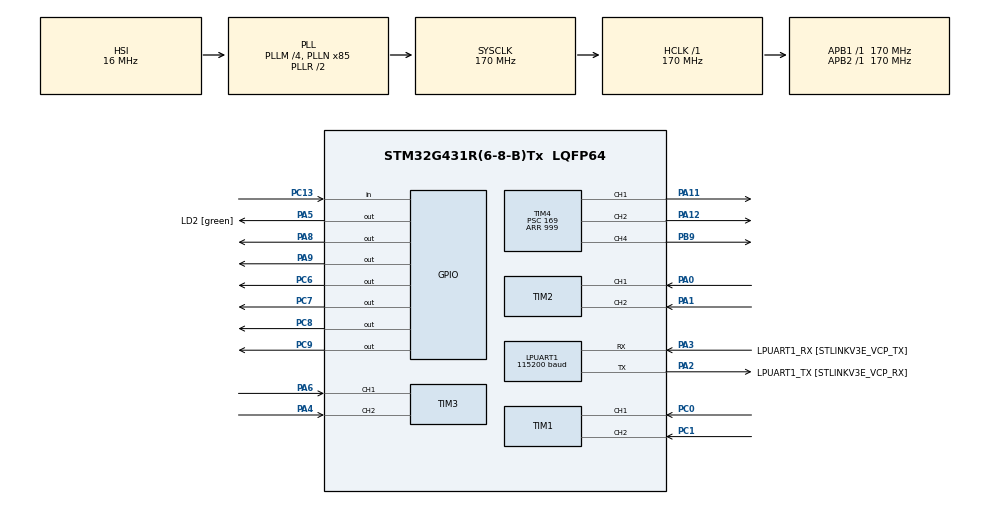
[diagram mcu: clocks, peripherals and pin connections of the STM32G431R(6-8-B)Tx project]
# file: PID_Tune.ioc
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LPUART1.BaudRate=115200
LPUART1.WordLength=UART_WORDLENGTH_8B
Mcu.Family=STM32G4
Mcu.Name=STM32G431R(6-8-B)Tx
Mcu.Package=LQFP64
NVIC.PriorityGroup=NVIC_PRIORITYGROUP_4
NVIC.TIM8_UP_IRQn=true\:0\:0\:false\:false\:true\:true\:true\:true
PA0.Signal=S_TIM2_CH1
PA1.Signal=S_TIM2_CH2
PA11.Signal=S_TIM4_CH1
PA12.Signal=S_TIM4_CH2
PA13.GPIO_Label=T_SWDIO
PA13.Mode=Serial_Wire
PA13.Signal=SYS_JTMS-SWDIO
PA14.GPIO_Label=T_SWCLK
PA14.Mode=Serial_Wire
PA14.Signal=SYS_JTCK-SWCLK
PA2.GPIO_Label=LPUART1_TX [STLINKV3E_VCP_RX]
PA2.Mode=Asynchronous
PA2.Signal=LPUART1_TX
PA3.GPIO_Label=LPUART1_RX [STLINKV3E_VCP_TX]
PA3.Mode=Asynchronous
PA3.Signal=LPUART1_RX
PA4.Signal=S_TIM3_CH2
PA5.GPIO_Label=LD2 [green]
PA5.Signal=GPIO_Output
PA6.Signal=S_TIM3_CH1
PA8.Signal=GPIO_Output
PA9.Signal=GPIO_Output
PB3.GPIO_Label=T_SWO
PB3.Signal=SYS_JTDO-SWO
PB9.Signal=S_TIM4_CH4
PC0.Signal=S_TIM1_CH1
PC1.Signal=S_TIM1_CH2
PC13.Signal=GPIO_Input
PC14-OSC32_IN.Mode=LSE-External-Oscillator
PC14-OSC32_IN.Signal=RCC_OSC32_IN
PC15-OSC32_OUT.Mode=LSE-External-Oscillator
PC15-OSC32_OUT.Signal=RCC_OSC32_OUT
PC6.Signal=GPIO_Output
PC7.Signal=GPIO_Output
PC8.Signal=GPIO_Output
PC9.Signal=GPIO_Output
PF0-OSC_IN.Mode=HSE-External-Oscillator
PF0-OSC_IN.Signal=RCC_OSC_IN
PF1-OSC_OUT.Mode=HSE-External-Oscillator
PF1-OSC_OUT.Signal=RCC_OSC_OUT
ProjectManager.HeapSize=0x200
ProjectManager.StackSize=0x400
ProjectManager.TargetToolchain=STM32CubeIDE
RCC.ADC12Freq_Value=170000000
RCC.AHBFreq_Value=170000000
RCC.APB1Freq_Value=170000000
RCC.APB1TimFreq_Value=170000000
RCC.APB2Freq_Value=170000000
RCC.APB2TimFreq_Value=170000000
RCC.CortexFreq_Value=170000000
RCC.EXTERNAL_CLOCK_VALUE=12288000
RCC.HCLKFreq_Value=170000000
RCC.HSE_VALUE=24000000
RCC.HSI48_VALUE=48000000
RCC.HSI_VALUE=16000000
RCC.PLLM=RCC_PLLM_DIV4
RCC.PLLN=85
RCC.RTCClockSelection=RCC_RTCCLKSOURCE_LSE
RCC.SYSCLKFreq_VALUE=170000000
RCC.SYSCLKSource=RCC_SYSCLKSOURCE_PLLCLK
RCC.USBFreq_Value=170000000
RCC.VCOOutputFreq_Value=340000000
SH.S_TIM1_CH1.0=TIM1_CH1,Encoder_Interface
SH.S_TIM1_CH2.0=TIM1_CH2,Encoder_Interface
SH.S_TIM2_CH1.0=TIM2_CH1,Encoder_Interface
SH.S_TIM2_CH2.0=TIM2_CH2,Encoder_Interface
SH.S_TIM3_CH1.0=TIM3_CH1,Encoder_Interface
SH.S_TIM3_CH2.0=TIM3_CH2,Encoder_Interface
SH.S_TIM4_CH1.0=TIM4_CH1,PWM Generation1 CH1
SH.S_TIM4_CH2.0=TIM4_CH2,PWM Generation2 CH2
SH.S_TIM4_CH4.0=TIM4_CH4,PWM Generation4 CH4
TIM1.EncoderMode=TIM_ENCODERMODE_TI12
TIM2.EncoderMode=TIM_ENCODERMODE_TI12
TIM3.EncoderMode=TIM_ENCODERMODE_TI12
TIM4.Channel-PWM\ Generation1\ CH1=TIM_CHANNEL_1
TIM4.Channel-PWM\ Generation2\ CH2=TIM_CHANNEL_2
TIM4.Channel-PWM\ Generation4\ CH4=TIM_CHANNEL_4
TIM4.PeriodNoDither=999
TIM4.Prescaler=169
TIM8.PeriodNoDither=999
TIM8.Prescaler=169
VP_SYS_VS_DBSignals.Mode=DisableDeadBatterySignals
VP_TIM8_VS_ClockSourceINT.Mode=Internal
board=NUCLEO-G431RB

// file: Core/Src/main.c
/* USER CODE BEGIN Header */
/**
  ******************************************************************************
  * @file           : main.c
  * @brief          : Main program body
  ******************************************************************************
  * @attention
  *
  * Copyright (c) 2024 STMicroelectronics.
  * All rights reserved.
  *
  * This software is licensed under terms that can be found in the LICENSE file
  * in the root directory of this software component.
  * If no LICENSE file comes with this software, it is provided AS-IS.
  *
  ******************************************************************************
  */
/* USER CODE END Header */
#include "main.h"

UART_HandleTypeDef hlpuart1;

TIM_HandleTypeDef htim1;
TIM_HandleTypeDef htim2;
TIM_HandleTypeDef htim3;
TIM_HandleTypeDef htim4;
TIM_HandleTypeDef htim8;

void SystemClock_Config(void);
static void MX_GPIO_Init(void);
static void MX_LPUART1_UART_Init(void);
static void MX_TIM1_Init(void);
static void MX_TIM4_Init(void);
static void MX_TIM8_Init(void);
static void MX_TIM2_Init(void);
static void MX_TIM3_Init(void);

int main(void)
{

  /* MCU Configuration--------------------------------------------------------*/

  /* Reset of all peripherals, Initializes the Flash interface and the Systick. */
  HAL_Init();

  /* Configure the system clock */
  SystemClock_Config();

  /* Initialize all configured peripherals */
  MX_GPIO_Init();
  MX_LPUART1_UART_Init();
  MX_TIM1_Init();
  MX_TIM4_Init();
  MX_TIM8_Init();
  MX_TIM2_Init();
  MX_TIM3_Init();
  /* USER CODE BEGIN 2 */
  // Update Interrupt
  HAL_TIM_Base_Start_IT(&htim8);
  // Encoder
  HAL_TIM_Encoder_Start(&htim1, TIM_CHANNEL_1);	// Front
  HAL_TIM_Encoder_Start(&htim1, TIM_CHANNEL_2);
  HAL_TIM_Encoder_Start(&htim2, TIM_CHANNEL_1);	// Left
  HAL_TIM_Encoder_Start(&htim2, TIM_CHANNEL_2);
  HAL_TIM_Encoder_Start(&htim3, TIM_CHANNEL_1);	// Right
  HAL_TIM_Encoder_Start(&htim3, TIM_CHANNEL_2);
  // PWM
  HAL_TIM_PWM_Start(&htim4, TIM_CHANNEL_1);	// Front
  HAL_TIM_PWM_Start(&htim4, TIM_CHANNEL_2);	// Left
  HAL_TIM_PWM_Start(&htim4, TIM_CHANNEL_4);	// Right

  /* USER CODE END 2 */

  /* Infinite loop */
  while (1)
  {

  }
}

void SystemClock_Config(void)
{
  RCC_OscInitTypeDef RCC_OscInitStruct = {0};
  RCC_ClkInitTypeDef RCC_ClkInitStruct = {0};

  /** Configure the main internal regulator output voltage
  */
  HAL_PWREx_ControlVoltageScaling(PWR_REGULATOR_VOLTAGE_SCALE1_BOOST);

  /** Initializes the RCC Oscillators according to the specified parameters
  * in the RCC_OscInitTypeDef structure.
  */
  RCC_OscInitStruct.OscillatorType = RCC_OSCILLATORTYPE_HSI;
  RCC_OscInitStruct.HSIState = RCC_HSI_ON;
  RCC_OscInitStruct.HSICalibrationValue = RCC_HSICALIBRATION_DEFAULT;
  RCC_OscInitStruct.PLL.PLLState = RCC_PLL_ON;
  RCC_OscInitStruct.PLL.PLLSource = RCC_PLLSOURCE_HSI;
  RCC_OscInitStruct.PLL.PLLM = RCC_PLLM_DIV4;
  RCC_OscInitStruct.PLL.PLLN = 85;
  RCC_OscInitStruct.PLL.PLLP = RCC_PLLP_DIV2;
  RCC_OscInitStruct.PLL.PLLQ = RCC_PLLQ_DIV2;
  RCC_OscInitStruct.PLL.PLLR = RCC_PLLR_DIV2;
  if (HAL_RCC_OscConfig(&RCC_OscInitStruct) != HAL_OK)
  {
    Error_Handler();
  }

  /** Initializes the CPU, AHB and APB buses clocks
  */
  RCC_ClkInitStruct.ClockType = RCC_CLOCKTYPE_HCLK|RCC_CLOCKTYPE_SYSCLK
                              |RCC_CLOCKTYPE_PCLK1|RCC_CLOCKTYPE_PCLK2;
  RCC_ClkInitStruct.SYSCLKSource = RCC_SYSCLKSOURCE_PLLCLK;
  RCC_ClkInitStruct.AHBCLKDivider = RCC_SYSCLK_DIV1;
  RCC_ClkInitStruct.APB1CLKDivider = RCC_HCLK_DIV1;
  RCC_ClkInitStruct.APB2CLKDivider = RCC_HCLK_DIV1;

  if (HAL_RCC_ClockConfig(&RCC_ClkInitStruct, FLASH_LATENCY_4) != HAL_OK)
  {
    Error_Handler();
  }
}

static void MX_LPUART1_UART_Init(void)
{

  hlpuart1.Instance = LPUART1;
  hlpuart1.Init.BaudRate = 115200;
  hlpuart1.Init.WordLength = UART_WORDLENGTH_8B;
  hlpuart1.Init.StopBits = UART_STOPBITS_1;
  hlpuart1.Init.Parity = UART_PARITY_NONE;
  hlpuart1.Init.Mode = UART_MODE_TX_RX;
  hlpuart1.Init.HwFlowCtl = UART_HWCONTROL_NONE;
  hlpuart1.Init.OneBitSampling = UART_ONE_BIT_SAMPLE_DISABLE;
  hlpuart1.Init.ClockPrescaler = UART_PRESCALER_DIV1;
  hlpuart1.AdvancedInit.AdvFeatureInit = UART_ADVFEATURE_NO_INIT;
  if (HAL_UART_Init(&hlpuart1) != HAL_OK)
  {
    Error_Handler();
  }
  if (HAL_UARTEx_SetTxFifoThreshold(&hlpuart1, UART_TXFIFO_THRESHOLD_1_8) != HAL_OK)
  {
    Error_Handler();
  }
  if (HAL_UARTEx_SetRxFifoThreshold(&hlpuart1, UART_RXFIFO_THRESHOLD_1_8) != HAL_OK)
  {
    Error_Handler();
  }
  if (HAL_UARTEx_DisableFifoMode(&hlpuart1) != HAL_OK)
  {
    Error_Handler();
  }

}

static void MX_TIM1_Init(void)
{

  TIM_Encoder_InitTypeDef sConfig = {0};
  TIM_MasterConfigTypeDef sMasterConfig = {0};

  htim1.Instance = TIM1;
  htim1.Init.Prescaler = 0;
  htim1.Init.CounterMode = TIM_COUNTERMODE_UP;
  htim1.Init.Period = 65535;
  htim1.Init.ClockDivision = TIM_CLOCKDIVISION_DIV1;
  htim1.Init.RepetitionCounter = 0;
  htim1.Init.AutoReloadPreload = TIM_AUTORELOAD_PRELOAD_DISABLE;
  sConfig.EncoderMode = TIM_ENCODERMODE_TI12;
  sConfig.IC1Polarity = TIM_ICPOLARITY_RISING;
  sConfig.IC1Selection = TIM_ICSELECTION_DIRECTTI;
  sConfig.IC1Prescaler = TIM_ICPSC_DIV1;
  sConfig.IC1Filter = 0;
  sConfig.IC2Polarity = TIM_ICPOLARITY_RISING;
  sConfig.IC2Selection = TIM_ICSELECTION_DIRECTTI;
  sConfig.IC2Prescaler = TIM_ICPSC_DIV1;
  sConfig.IC2Filter = 0;
  if (HAL_TIM_Encoder_Init(&htim1, &sConfig) != HAL_OK)
  {
    Error_Handler();
  }
  sMasterConfig.MasterOutputTrigger = TIM_TRGO_RESET;
  sMasterConfig.MasterOutputTrigger2 = TIM_TRGO2_RESET;
  sMasterConfig.MasterSlaveMode = TIM_MASTERSLAVEMODE_DISABLE;
  if (HAL_TIMEx_MasterConfigSynchronization(&htim1, &sMasterConfig) != HAL_OK)
  {
    Error_Handler();
  }

}

static void MX_TIM2_Init(void)
{

  TIM_Encoder_InitTypeDef sConfig = {0};
  TIM_MasterConfigTypeDef sMasterConfig = {0};

  htim2.Instance = TIM2;
  htim2.Init.Prescaler = 0;
  htim2.Init.CounterMode = TIM_COUNTERMODE_UP;
  htim2.Init.Period = 4.294967295E9;
  htim2.Init.ClockDivision = TIM_CLOCKDIVISION_DIV1;
  htim2.Init.AutoReloadPreload = TIM_AUTORELOAD_PRELOAD_DISABLE;
  sConfig.EncoderMode = TIM_ENCODERMODE_TI12;
  sConfig.IC1Polarity = TIM_ICPOLARITY_RISING;
  sConfig.IC1Selection = TIM_ICSELECTION_DIRECTTI;
  sConfig.IC1Prescaler = TIM_ICPSC_DIV1;
  sConfig.IC1Filter = 0;
  sConfig.IC2Polarity = TIM_ICPOLARITY_RISING;
  sConfig.IC2Selection = TIM_ICSELECTION_DIRECTTI;
  sConfig.IC2Prescaler = TIM_ICPSC_DIV1;
  sConfig.IC2Filter = 0;
  if (HAL_TIM_Encoder_Init(&htim2, &sConfig) != HAL_OK)
  {
    Error_Handler();
  }
  sMasterConfig.MasterOutputTrigger = TIM_TRGO_RESET;
  sMasterConfig.MasterSlaveMode = TIM_MASTERSLAVEMODE_DISABLE;
  if (HAL_TIMEx_MasterConfigSynchronization(&htim2, &sMasterConfig) != HAL_OK)
  {
    Error_Handler();
  }

}

static void MX_TIM3_Init(void)
{

  TIM_Encoder_InitTypeDef sConfig = {0};
  TIM_MasterConfigTypeDef sMasterConfig = {0};

  htim3.Instance = TIM3;
  htim3.Init.Prescaler = 0;
  htim3.Init.CounterMode = TIM_COUNTERMODE_UP;
  htim3.Init.Period = 65535;
  htim3.Init.ClockDivision = TIM_CLOCKDIVISION_DIV1;
  htim3.Init.AutoReloadPreload = TIM_AUTORELOAD_PRELOAD_DISABLE;
  sConfig.EncoderMode = TIM_ENCODERMODE_TI12;
  sConfig.IC1Polarity = TIM_ICPOLARITY_RISING;
  sConfig.IC1Selection = TIM_ICSELECTION_DIRECTTI;
  sConfig.IC1Prescaler = TIM_ICPSC_DIV1;
  sConfig.IC1Filter = 0;
  sConfig.IC2Polarity = TIM_ICPOLARITY_RISING;
  sConfig.IC2Selection = TIM_ICSELECTION_DIRECTTI;
  sConfig.IC2Prescaler = TIM_ICPSC_DIV1;
  sConfig.IC2Filter = 0;
  if (HAL_TIM_Encoder_Init(&htim3, &sConfig) != HAL_OK)
  {
    Error_Handler();
  }
  sMasterConfig.MasterOutputTrigger = TIM_TRGO_RESET;
  sMasterConfig.MasterSlaveMode = TIM_MASTERSLAVEMODE_DISABLE;
  if (HAL_TIMEx_MasterConfigSynchronization(&htim3, &sMasterConfig) != HAL_OK)
  {
    Error_Handler();
  }

}

static void MX_TIM4_Init(void)
{

  TIM_MasterConfigTypeDef sMasterConfig = {0};
  TIM_OC_InitTypeDef sConfigOC = {0};

  htim4.Instance = TIM4;
  htim4.Init.Prescaler = 169;
  htim4.Init.CounterMode = TIM_COUNTERMODE_UP;
  htim4.Init.Period = 999;
  htim4.Init.ClockDivision = TIM_CLOCKDIVISION_DIV1;
  htim4.Init.AutoReloadPreload = TIM_AUTORELOAD_PRELOAD_DISABLE;
  if (HAL_TIM_PWM_Init(&htim4) != HAL_OK)
  {
    Error_Handler();
  }
  sMasterConfig.MasterOutputTrigger = TIM_TRGO_RESET;
  sMasterConfig.MasterSlaveMode = TIM_MASTERSLAVEMODE_DISABLE;
  if (HAL_TIMEx_MasterConfigSynchronization(&htim4, &sMasterConfig) != HAL_OK)
  {
    Error_Handler();
  }
  sConfigOC.OCMode = TIM_OCMODE_PWM1;
  sConfigOC.Pulse = 0;
  sConfigOC.OCPolarity = TIM_OCPOLARITY_HIGH;
  sConfigOC.OCFastMode = TIM_OCFAST_DISABLE;
  if (HAL_TIM_PWM_ConfigChannel(&htim4, &sConfigOC, TIM_CHANNEL_1) != HAL_OK)
  {
    Error_Handler();
  }
  if (HAL_TIM_PWM_ConfigChannel(&htim4, &sConfigOC, TIM_CHANNEL_2) != HAL_OK)
  {
    Error_Handler();
  }
  if (HAL_TIM_PWM_ConfigChannel(&htim4, &sConfigOC, TIM_CHANNEL_4) != HAL_OK)
  {
    Error_Handler();
  }
  HAL_TIM_MspPostInit(&htim4);

}

static void MX_TIM8_Init(void)
{

  TIM_ClockConfigTypeDef sClockSourceConfig = {0};
  TIM_MasterConfigTypeDef sMasterConfig = {0};

  htim8.Instance = TIM8;
  htim8.Init.Prescaler = 169;
  htim8.Init.CounterMode = TIM_COUNTERMODE_UP;
  htim8.Init.Period = 999;
  htim8.Init.ClockDivision = TIM_CLOCKDIVISION_DIV1;
  htim8.Init.RepetitionCounter = 0;
  htim8.Init.AutoReloadPreload = TIM_AUTORELOAD_PRELOAD_DISABLE;
  if (HAL_TIM_Base_Init(&htim8) != HAL_OK)
  {
    Error_Handler();
  }
  sClockSourceConfig.ClockSource = TIM_CLOCKSOURCE_INTERNAL;
  if (HAL_TIM_ConfigClockSource(&htim8, &sClockSourceConfig) != HAL_OK)
  {
    Error_Handler();
  }
  sMasterConfig.MasterOutputTrigger = TIM_TRGO_RESET;
  sMasterConfig.MasterOutputTrigger2 = TIM_TRGO2_RESET;
  sMasterConfig.MasterSlaveMode = TIM_MASTERSLAVEMODE_DISABLE;
  if (HAL_TIMEx_MasterConfigSynchronization(&htim8, &sMasterConfig) != HAL_OK)
  {
    Error_Handler();
  }

}

static void MX_GPIO_Init(void)
{
  GPIO_InitTypeDef GPIO_InitStruct = {0};

  /* GPIO Ports Clock Enable */
  __HAL_RCC_GPIOC_CLK_ENABLE();
  __HAL_RCC_GPIOF_CLK_ENABLE();
  __HAL_RCC_GPIOA_CLK_ENABLE();
  __HAL_RCC_GPIOB_CLK_ENABLE();

  /*Configure GPIO pin Output Level */
  HAL_GPIO_WritePin(GPIOA, LD2_Pin|GPIO_PIN_8|GPIO_PIN_9, GPIO_PIN_RESET);

  /*Configure GPIO pin Output Level */
  HAL_GPIO_WritePin(GPIOC, GPIO_PIN_6|GPIO_PIN_7|GPIO_PIN_8|GPIO_PIN_9, GPIO_PIN_RESET);

  /*Configure GPIO pin : PC13 */
  GPIO_InitStruct.Pin = GPIO_PIN_13;
  GPIO_InitStruct.Mode = GPIO_MODE_INPUT;
  GPIO_InitStruct.Pull = GPIO_NOPULL;
  HAL_GPIO_Init(GPIOC, &GPIO_InitStruct);

  /*Configure GPIO pins : LD2_Pin PA8 PA9 */
  GPIO_InitStruct.Pin = LD2_Pin|GPIO_PIN_8|GPIO_PIN_9;
  GPIO_InitStruct.Mode = GPIO_MODE_OUTPUT_PP;
  GPIO_InitStruct.Pull = GPIO_NOPULL;
  GPIO_InitStruct.Speed = GPIO_SPEED_FREQ_LOW;
  HAL_GPIO_Init(GPIOA, &GPIO_InitStruct);

  /*Configure GPIO pins : PC6 PC7 PC8 PC9 */
  GPIO_InitStruct.Pin = GPIO_PIN_6|GPIO_PIN_7|GPIO_PIN_8|GPIO_PIN_9;
  GPIO_InitStruct.Mode = GPIO_MODE_OUTPUT_PP;
  GPIO_InitStruct.Pull = GPIO_NOPULL;
  GPIO_InitStruct.Speed = GPIO_SPEED_FREQ_LOW;
  HAL_GPIO_Init(GPIOC, &GPIO_InitStruct);

}

/* USER CODE BEGIN 4 */
int TIM_IT_cnt = 0;
int reset = 0;

// Required motor_vel
double MF, ML, MR;
// encoder
short int	enc_MF, enc_MR, enc_ML;
// Real motor_vel
double rMF, rML, rMR;
// Real robot_vel
double rVx, rVy, rW;

void Encoder(){
	//front wheel motor
	enc_MF = __HAL_TIM_GetCounter(&htim1);
	rMF = -(double) enc_MF / (4 * 256 * 24) / 0.001; // revolution/s
	__HAL_TIM_SetCounter(&htim1, 0);
}

int pulse_MF;
double inte_MF;
double kp = 2.2;
double ki = 20.5;

void PID_PWM(){
	//PID_MF
	double	err_MF = MF - rMF;
	inte_MF += err_MF * 0.001;
	double	bound_MF = 0.01;
	if (ki * inte_MF > 1) inte_MF = bound_MF;
	else if (ki * inte_MF < -1) inte_MF = -bound_MF;
	float u_MF = kp * err_MF + ki * inte_MF;			// pulse
	if (u_MF > 1) u_MF = 1;
	else if (u_MF < -1) u_MF = -1;

	//PWM_MF
	if (u_MF > 0) {
		pulse_MF = (int) (u_MF * (999 + 1));
		HAL_GPIO_WritePin(GPIOC, GPIO_PIN_6, GPIO_PIN_SET); // INA
		HAL_GPIO_WritePin(GPIOC, GPIO_PIN_7, GPIO_PIN_RESET); // INB
	} else if(u_MF < 0){
		pulse_MF = (int) (-u_MF * (999 + 1));
		HAL_GPIO_WritePin(GPIOC, GPIO_PIN_6, GPIO_PIN_RESET); // INA
		HAL_GPIO_WritePin(GPIOC, GPIO_PIN_7, GPIO_PIN_SET); // INB
	}
	__HAL_TIM_SET_COMPARE(&htim4, TIM_CHANNEL_1, pulse_MF); // PWM
}

void HAL_TIM_PeriodElapsedCallback(TIM_HandleTypeDef *htim){
	if(htim->Instance == TIM8){
		TIM_IT_cnt++;
		if(reset)	NVIC_SystemReset();
		Encoder();
		PID_PWM();
	}
}
/* USER CODE END 4 */

void Error_Handler(void)
{
  __disable_irq();
  while (1)
  {
  }
}
